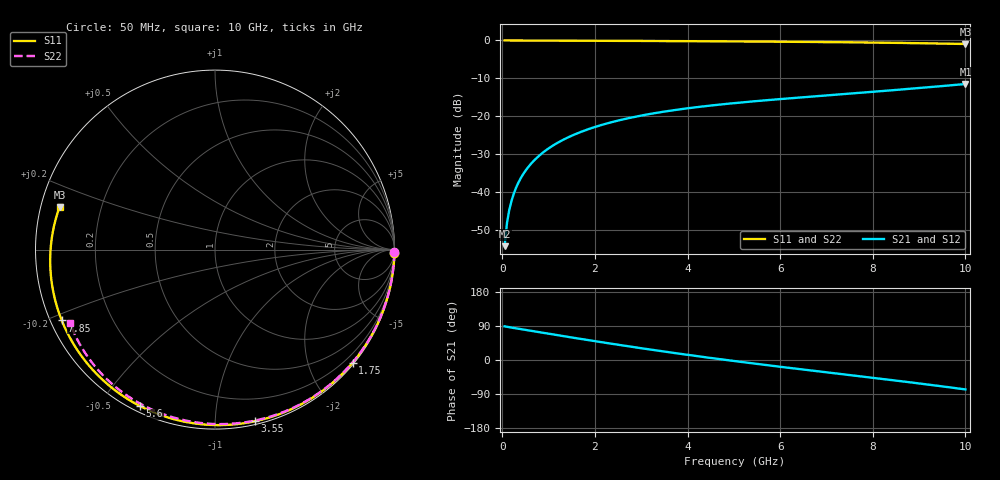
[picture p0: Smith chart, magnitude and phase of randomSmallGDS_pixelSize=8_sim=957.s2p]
! freq	dB(S11)	phase(S11)	dB(S12)	phase(S12)
!  dB(S21)	phase(S21)	dB(S22)	phase(S22)
!S-par simulation data
#  GHz  S  DB  R 50
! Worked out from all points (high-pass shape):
!   200 points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, 50 MHz to 10 GHz, reference 50 ohm
!   highest |S21| = -11.49 dB at 10 GHz (marker M1); lowest = -54.3 dB at 50 MHz (marker M2)
!   |S21| within 3 dB of the highest: 7.011 GHz to end of sweep
!   lowest |S11| = -0.9 dB at 10 GHz (marker M3), VSWR 18.60, Z = 2.74 + j6.73 ohm
!   |S11| at or under -10 dB: nowhere
!   |S22| runs from -0.9 to 0.0 dB; largest |S21 - S12| = 0
!   S11 on the Smith chart (normalised r, x): 50 MHz: 0, -99; 1.75 GHz: 0.03, -2.79; 3.55 GHz: 0.02, -1.26; 5.6 GHz: 0.02, -0.63; 7.85 GHz: 0.03, -0.22; 10 GHz: 0.05, +0.13
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0.05  -0.00 -1.2  -54.26 88.8  -54.26 88.8  -0.00 -0.9
0.1  -0.00 -2.3  -48.26 87.7  -48.26 87.7  -0.00 -1.8
0.15  -0.00 -3.5  -44.75 86.6  -44.75 86.6  -0.00 -2.7
0.2  -0.01 -4.6  -42.27 85.5  -42.27 85.5  -0.01 -3.6
0.25  -0.01 -5.8  -40.35 84.5  -40.35 84.5  -0.01 -4.5
0.35  -0.01 -8.0  -37.45 82.5  -37.45 82.5  -0.01 -6.3
0.5  -0.02 -11.5  -34.38 79.5  -34.38 79.5  -0.01 -9.0
0.7  -0.02 -16.0  -31.50 75.4  -31.50 75.4  -0.02 -12.6
1  -0.03 -22.8  -28.47 69.3  -28.47 69.3  -0.03 -17.9
1.35  -0.05 -30.6  -25.98 62.3  -25.98 62.3  -0.04 -24.1
1.75  -0.07 -39.5  -23.88 54.5  -23.88 54.5  -0.06 -31.1
2.6  -0.11 -57.7  -20.84 38.4  -20.84 38.4  -0.09 -45.6
3.4  -0.15 -74.0  -18.96 24.0  -18.96 24.0  -0.13 -58.8
3.55  -0.16 -77.0  -18.67 21.4  -18.67 21.4  -0.14 -61.2
4.3  -0.20 -91.6  -17.45 8.7  -17.45 8.7  -0.18 -73.1
5.05  -0.25 -105.6  -16.48 -3.4  -16.48 -3.4  -0.22 -84.5
5.6  -0.29 -115.5  -15.87 -11.9  -15.87 -11.9  -0.26 -92.6
6.7  -0.39 -135.0  -14.79 -28.1  -14.79 -28.1  -0.35 -108.3
7.85  -0.53 -155.2  -13.70 -44.8  -13.70 -44.8  -0.48 -124.1
8.35  -0.61 -164.1  -13.21 -52.1  -13.21 -52.1  -0.55 -130.9
9.2  -0.76 -179.8  -12.34 -64.9  -12.34 -64.9  -0.69 -142.3
10  -0.93 164.6  -11.49 -77.6  -11.49 -77.6  -0.86 -153.2
